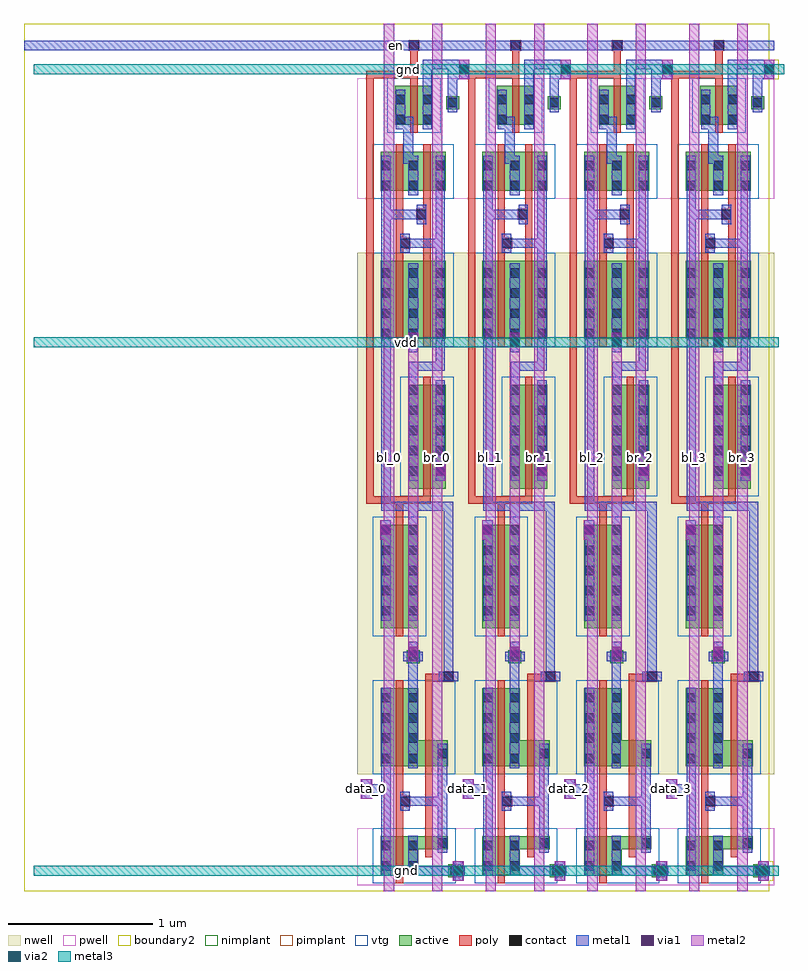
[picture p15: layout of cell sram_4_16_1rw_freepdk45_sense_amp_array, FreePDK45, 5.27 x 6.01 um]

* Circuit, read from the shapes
.subckt sram_4_16_1rw_freepdk45_sense_amp_array bl_0 bl_1 bl_2 bl_3 br_0 br_1 br_2 br_3 data_0 data_1 data_2 data_3 en gnd vdd
M1 gnd n1 data_0 gnd nfet w=0.27u l=0.05u
M2 n2 n3 n4 gnd nfet w=0.27u l=0.05u
M3 gnd en n2 gnd nfet w=0.27u l=0.05u
M4 n3 n4 n2 gnd nfet w=0.27u l=0.05u
M5 n1 n4 gnd gnd nfet w=0.09u l=0.05u
M6 gnd n5 data_1 gnd nfet w=0.27u l=0.05u
M7 n6 n7 n8 gnd nfet w=0.27u l=0.05u
M8 gnd en n6 gnd nfet w=0.27u l=0.05u
M9 n7 n8 n6 gnd nfet w=0.27u l=0.05u
M10 n5 n8 gnd gnd nfet w=0.09u l=0.05u
M11 gnd n9 data_2 gnd nfet w=0.27u l=0.05u
M12 n10 n11 n12 gnd nfet w=0.27u l=0.05u
M13 gnd en n10 gnd nfet w=0.27u l=0.05u
M14 n11 n12 n10 gnd nfet w=0.27u l=0.05u
M15 n9 n12 gnd gnd nfet w=0.09u l=0.05u
M16 gnd n13 data_3 gnd nfet w=0.27u l=0.05u
M17 n14 n15 n16 gnd nfet w=0.27u l=0.05u
M18 gnd en n14 gnd nfet w=0.27u l=0.05u
M19 n15 n16 n14 gnd nfet w=0.27u l=0.05u
M20 n13 n16 gnd gnd nfet w=0.09u l=0.05u
M21 vdd n1 data_0 vdd pfet w=0.54u l=0.05u
M22 n4 en bl_0 vdd pfet w=0.72u l=0.05u
M23 vdd n3 n4 vdd pfet w=0.54u l=0.05u
M24 br_0 en n3 vdd pfet w=0.72u l=0.05u
M25 n3 n4 vdd vdd pfet w=0.54u l=0.05u
M26 n1 n4 vdd vdd pfet w=0.18u l=0.05u
M27 vdd n5 data_1 vdd pfet w=0.54u l=0.05u
M28 n8 en bl_1 vdd pfet w=0.72u l=0.05u
M29 vdd n7 n8 vdd pfet w=0.54u l=0.05u
M30 br_1 en n7 vdd pfet w=0.72u l=0.05u
M31 n7 n8 vdd vdd pfet w=0.54u l=0.05u
M32 n5 n8 vdd vdd pfet w=0.18u l=0.05u
M33 vdd n9 data_2 vdd pfet w=0.54u l=0.05u
M34 n12 en bl_2 vdd pfet w=0.72u l=0.05u
M35 vdd n11 n12 vdd pfet w=0.54u l=0.05u
M36 br_2 en n11 vdd pfet w=0.72u l=0.05u
M37 n11 n12 vdd vdd pfet w=0.54u l=0.05u
M38 n9 n12 vdd vdd pfet w=0.18u l=0.05u
M39 vdd n13 data_3 vdd pfet w=0.54u l=0.05u
M40 n16 en bl_3 vdd pfet w=0.72u l=0.05u
M41 vdd n15 n16 vdd pfet w=0.54u l=0.05u
M42 br_3 en n15 vdd pfet w=0.72u l=0.05u
M43 n15 n16 vdd vdd pfet w=0.54u l=0.05u
M44 n13 n16 vdd vdd pfet w=0.18u l=0.05u
.ends

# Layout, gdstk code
import gdstk
lib = gdstk.Library(unit=1e-6, precision=5e-10)
def R(c, l, rs):  # rectangles x0, y0, x1, y1
    for r in rs: c.add(gdstk.rectangle(r[:2], r[2:], *l))
def A(c, l, x, y, w, h, nx, ny, dx, dy):  # array of equal rectangles
    R(c, l, [(x+i*dx, y+j*dy, x+i*dx+w, y+j*dy+h) for i in range(nx) for j in range(ny)])
def P(c, l, *ps):  # polygons
    for p in ps: c.add(gdstk.Polygon(p, *l))
active = (1, 0)
pwell = (2, 0)
nwell = (3, 0)
nimplant = (4, 0)
pimplant = (5, 0)
vtg = (6, 0)
poly = (9, 0)
contact = (10, 0)
metal1 = (11, 0)
via1 = (12, 0)
metal2 = (13, 0)
via2 = (14, 0)
metal3 = (15, 0)
boundary2 = (239, 0)

sense_amp = lib.new_cell('sense_amp')
R(sense_amp, active, [(0.595,0.095,0.685,0.185), (0.3075,1.58,0.3975,1.67), (0.1275,1.82,0.3875,2.54), (0.1275,1.82,0.2025,2.54), (0.1275,1.82,0.2025,2.54), (0.3125,1.82,0.3875,2.54), (0.3125,1.82,0.3875,2.54), (0.1275,1.905,0.2025,2.54), (0.3125,1.905,0.3875,2.54), (0.3175,2.79,0.5775,3.51), (0.3175,2.79,0.3925,3.51), (0.3175,2.79,0.3925,3.51), (0.5025,2.79,0.5775,3.51), (0.5025,2.79,0.5775,3.51), (0.3175,2.875,0.3925,3.51), (0.5025,2.875,0.5775,3.51), (0.1275,3.8275,0.2025,4.3225), (0.1275,3.8275,0.3875,4.3675), (0.1275,3.8275,0.2025,4.3675), (0.1275,3.8275,0.2025,4.3675), (0.3125,3.8275,0.3875,4.3225), (0.3125,3.8275,0.3875,4.3675), (0.3125,3.8275,0.3875,4.3675), (0.3175,3.8275,0.3925,4.3225), (0.3175,3.8275,0.5775,4.3675), (0.3175,3.8275,0.3925,4.3675), (0.3175,3.8275,0.3925,4.3675), (0.5025,3.8275,0.5775,4.3225), (0.5025,3.8275,0.5775,4.3675), (0.5025,3.8275,0.5775,4.3675), (0.1275,4.8525,0.2025,5.0675), (0.1275,4.8525,0.3875,5.1225), (0.1275,4.8525,0.2025,5.1225), (0.1275,4.8525,0.2025,5.1225), (0.3125,4.8525,0.3875,5.0675), (0.3125,4.8525,0.3875,5.1225), (0.3125,4.8525,0.3875,5.1225), (0.3175,4.8525,0.3925,5.0675), (0.3175,4.8525,0.5775,5.1225), (0.3175,4.8525,0.3925,5.1225), (0.3175,4.8525,0.3925,5.1225), (0.5025,4.8525,0.5775,5.0675), (0.5025,4.8525,0.5775,5.1225), (0.5025,4.8525,0.5775,5.1225), (0.2275,5.31,0.3025,5.525), (0.2275,5.31,0.4875,5.58), (0.2275,5.31,0.3025,5.58), (0.2275,5.31,0.3025,5.58), (0.4125,5.31,0.4875,5.525), (0.4125,5.31,0.4875,5.58), (0.4125,5.31,0.4875,5.58), (0.58,5.42,0.67,5.51)])
P(sense_amp, active, [(0.1275,0.11),(0.1275,0.38),(0.5925,0.38),(0.5925,0.29),(0.3875,0.29),(0.3875,0.11)],
  [(0.1275,0.865),(0.1275,1.405),(0.3875,1.405),(0.3875,1.045),(0.5925,1.045),(0.5925,0.865)])
R(sense_amp, pwell, [(-0.035,0.055,0.74,0.435), (-0.035,4.7975,0.74,5.635), (0.0725,4.7975,0.4425,5.1775), (0.2625,4.7975,0.6325,5.1775), (0.1725,5.255,0.5425,5.635), (0.525,5.365,0.725,5.565)])
P(sense_amp, pwell, [(-0.035,0.04),(-0.035,0.055),(0.595,0.055),(0.595,0.095),(0.685,0.095),(0.685,0.055),(0.74,0.055),(0.74,0.04)])
R(sense_amp, nwell, [(-0.035,0.81,0.74,4.4225), (0.0725,1.765,0.4425,2.595), (0.2625,2.735,0.6325,3.565), (0.0725,3.7725,0.4425,4.4225), (0.2625,3.7725,0.6325,4.4225)])
R(sense_amp, nimplant, [(0.3075,1.58,0.3975,1.67), (0.1275,4.8525,0.3875,5.1225), (0.3175,4.8525,0.5775,5.1225), (0.2275,5.31,0.4875,5.58)])
P(sense_amp, nimplant, [(0.1275,0.11),(0.1275,0.38),(0.5925,0.38),(0.5925,0.29),(0.3875,0.29),(0.3875,0.11)])
R(sense_amp, pimplant, [(0.595,0.095,0.685,0.185), (0.1275,1.82,0.3875,2.54), (0.3175,2.79,0.5775,3.51), (0.1275,3.8275,0.3875,4.3675), (0.3175,3.8275,0.5775,4.3675), (0.58,5.42,0.67,5.51)])
P(sense_amp, pimplant, [(0.1275,0.865),(0.1275,1.405),(0.3875,1.405),(0.3875,1.045),(0.5925,1.045),(0.5925,0.865)])
R(sense_amp, vtg, [(0.0725,0.055,0.6475,0.435), (0.0725,0.81,0.645,1.46), (0.0725,1.765,0.4425,2.595), (0.2625,2.735,0.6325,3.565), (0.0725,3.7725,0.4425,4.4225), (0.2625,3.7725,0.6325,4.4225), (0.0725,4.7975,0.4425,5.1775), (0.2625,4.7975,0.6325,5.1775), (0.1725,5.255,0.5425,5.635)])
R(sense_amp, poly, [(0.2325,0.055,0.2825,1.46), (0.2575,0.585,0.3325,0.66), (0.2325,1.765,0.2825,1.82), (0.2325,1.765,0.2825,2.595), (0.2325,2.54,0.2825,2.595), (0.2325,2.595,0.2825,2.685), (0.0275,2.685,0.4725,2.735), (0.0275,2.735,0.0775,5.635), (0.4225,2.735,0.4725,2.79), (0.4225,2.735,0.4725,3.565), (0.4225,3.51,0.4725,3.565), (0.2325,3.7725,0.2825,3.8275), (0.2325,3.7725,0.2825,4.4225), (0.4225,3.7725,0.4725,3.8275), (0.4225,3.7725,0.4725,4.4225), (0.2325,4.04,0.2825,4.7975), (0.4225,4.04,0.4725,4.7975), (0.2325,4.3675,0.2825,4.4225), (0.4225,4.3675,0.4725,4.4225), (0.2575,4.4525,0.3325,4.5275), (0.3725,4.6525,0.4475,4.7275), (0.2325,4.7975,0.2825,4.8525), (0.2325,4.7975,0.2825,5.1775), (0.4225,4.7975,0.4725,4.8525), (0.4225,4.7975,0.4725,5.1775), (0.2325,5.1225,0.2825,5.1775), (0.4225,5.1225,0.4725,5.1775), (0.3325,5.255,0.3825,5.31), (0.3325,5.255,0.3825,5.635), (0.3325,5.58,0.3825,5.635), (0.0275,5.635,0.3825,5.685), (0.3325,5.685,0.3825,5.89), (0.32,5.8225,0.395,5.8975)])
P(sense_amp, poly, [(0.4375,0.235),(0.4375,1.505),(0.56,1.505),(0.56,1.525),(0.635,1.525),(0.635,1.45),(0.4875,1.45),(0.4875,0.235)])
A(sense_amp, contact, 0.1325, 0.8875, 0.065, 0.065, 1, 4, 0, 0.14)
A(sense_amp, contact, 0.3175, 0.8875, 0.065, 0.065, 1, 4, 0, 0.14)
A(sense_amp, contact, 0.1325, 1.91, 0.065, 0.065, 1, 5, 0, 0.14)
A(sense_amp, contact, 0.3175, 1.91, 0.065, 0.065, 1, 5, 0, 0.14)
A(sense_amp, contact, 0.3225, 2.88, 0.065, 0.065, 1, 5, 0, 0.14)
A(sense_amp, contact, 0.5075, 2.88, 0.065, 0.065, 1, 5, 0, 0.14)
A(sense_amp, contact, 0.1325, 3.8325, 0.065, 0.065, 1, 4, 0, 0.14)
A(sense_amp, contact, 0.3225, 3.8325, 0.065, 0.065, 1, 4, 0, 0.14)
A(sense_amp, contact, 0.5075, 3.8325, 0.065, 0.065, 1, 4, 0, 0.14)
R(sense_amp, contact, [(0.61,0.1075,0.675,0.1725), (0.1325,0.1425,0.1975,0.2075), (0.3175,0.1425,0.3825,0.2075), (0.1325,0.2825,0.1975,0.3475), (0.3175,0.2825,0.3825,0.3475), (0.5225,0.3,0.5875,0.365), (0.2625,0.59,0.3275,0.655), (0.5225,0.92,0.5875,0.985), (0.565,1.455,0.63,1.52), (0.32,1.5925,0.385,1.6575), (0.2625,4.4575,0.3275,4.5225), (0.3775,4.6575,0.4425,4.7225), (0.1325,4.8575,0.1975,4.9225), (0.3225,4.8575,0.3875,4.9225), (0.5075,4.8575,0.5725,4.9225), (0.1325,4.9975,0.1975,5.0625), (0.3225,4.9975,0.3875,5.0625), (0.5075,4.9975,0.5725,5.0625), (0.2325,5.315,0.2975,5.38), (0.4175,5.315,0.4825,5.38), (0.5925,5.4325,0.6575,5.4975), (0.2325,5.455,0.2975,5.52), (0.4175,5.455,0.4825,5.52), (0.325,5.8275,0.39,5.8925)])
R(sense_amp, metal1, [(0.1325,0.1075,0.1975,1.4075), (0.3175,0.1075,0.3825,0.3825), (0.3825,0.1075,0.5675,0.1725), (0.5225,0.265,0.5875,0.3), (0.2625,0.555,0.3275,0.69), (-0.0025,0.64,0.0625,0.775), (-0.0075,0.67,0.0675,0.745), (0.0675,0.675,0.1325,0.74), (0.3175,0.8525,0.3825,0.8875), (0.3175,0.8875,0.3825,1.6575), (0.5225,0.985,0.5875,1.02), (0.53,1.455,0.665,1.52), (0.565,1.455,0.63,2.7), (0.285,1.5925,0.42,1.6575), (0.32,1.5925,0.385,1.7275), (0.1325,1.875,0.1975,2.57), (0.3175,1.875,0.3825,2.57), (0.1275,2.435,0.1925,2.57), (0.32,2.5025,0.385,2.7), (0.1325,2.635,0.63,2.7), (0.1325,2.7,0.1975,3.7975), (0.3225,2.845,0.3875,3.54), (0.5075,2.845,0.5725,3.54), (0.51,2.845,0.575,2.98), (0.3225,3.475,0.3875,3.67), (0.3225,3.605,0.5725,3.67), (0.5075,3.605,0.5725,3.8), (0.32,3.735,0.385,3.87), (0.1325,3.7975,0.1975,4.3525), (0.3175,3.7975,0.3825,4.3525), (0.3225,3.7975,0.3875,4.3525), (0.5075,3.7975,0.5725,4.3525), (0.1325,3.96,0.1975,4.8275), (0.5075,3.96,0.5725,4.8225), (0.2625,4.4225,0.3275,4.5575), (0.2825,4.4575,0.5725,4.5225), (0.3775,4.6225,0.4425,4.7575), (0.1325,4.6575,0.4225,4.7225), (0.1325,4.8225,0.1975,5.0975), (0.3175,4.8225,0.3825,5.0975), (0.3225,4.8225,0.3875,5.0975), (0.5075,4.8225,0.5725,5.0975), (0.2825,5.04,0.3525,5.3675), (0.2325,5.28,0.2975,5.555), (0.4175,5.28,0.4825,5.555), (0.5925,5.3975,0.6575,5.5325), (0.5925,5.5325,0.6575,5.7625), (0.4175,5.545,0.4825,5.6975), (0.6575,5.6275,0.6725,5.6975), (0.6725,5.6275,0.7375,5.7625), (0.4175,5.6975,0.74,5.7625), (-0.035,5.8275,0.74,5.8925), (-0.035,5.8275,0.74,5.8925), (0.23,5.8275,0.295,5.8925), (0.29,5.8275,0.425,5.8925)])
P(sense_amp, metal1, [(0.5225,0.3),(0.5225,0.59),(0.2625,0.59),(0.2625,0.655),(0.5225,0.655),(0.5225,0.985),(0.5875,0.985),(0.5875,0.3)],
  [(0.6325,0.0725),(0.6325,0.1075),(0.5675,0.1075),(0.5675,0.1725),(0.6325,0.1725),(0.6325,0.2075),(0.6975,0.2075),(0.6975,0.1725),(0.71,0.1725),(0.71,0.1075),(0.6975,0.1075),(0.6975,0.0725)],
  [(0,1.4525),(0,1.4525),(0,1.4525),(0,1.4525)])
R(sense_amp, via1, [(0.6325,0.1075,0.6975,0.1725), (-0.0025,0.675,0.0625,0.74), (0.32,1.6275,0.385,1.6925), (0.1275,2.47,0.1925,2.535), (0.51,2.88,0.575,2.945), (0.32,3.77,0.385,3.835), (0.6725,5.6625,0.7375,5.7275)])
R(sense_amp, metal2, [(0.15,0,0.22,6.01), (0.15,0,0.22,6.01), (0.485,0,0.555,6.01), (0.485,0,0.555,6.01), (0.6275,0.0725,0.7025,0.2075), (0.6275,0.0725,0.7025,0.2075), (0.6275,0.1025,0.7025,0.1775), (-0.01,0.64,0.0675,0.775), (-0.01,0.64,0.0675,0.775), (-0.0075,0.67,0.0675,0.745), (0.3175,1.5925,0.3875,1.7275), (0.3175,1.725,0.3875,3.735), (0.125,2.435,0.195,2.57), (0.5075,2.845,0.5775,2.98), (0.3175,3.735,0.3875,3.87), (0.3175,3.735,0.3875,3.87), (0.67,5.6275,0.74,5.7625), (0.67,5.6275,0.74,5.7625)])
R(sense_amp, boundary2, [(0,0,0.705,6.01)])
sense_amp.add(gdstk.Label('en', (0.258,5.86), layer=11, texttype=0))
sense_amp.add(gdstk.Label('dout', (0.0285,0.6925), layer=13, texttype=0))
sense_amp.add(gdstk.Label('gnd', (0.6555,0.1235), layer=13, texttype=0))
sense_amp.add(gdstk.Label('bl', (0.19,0.005), layer=13, texttype=0))
sense_amp.add(gdstk.Label('br', (0.52,0.0065), layer=13, texttype=0))
sense_amp.add(gdstk.Label('vdd', (0.3525,3.8), layer=13, texttype=0))
sense_amp.add(gdstk.Label('gnd', (0.7025,5.735), layer=13, texttype=0))
sense_amp.add(gdstk.Label('bl', (0.185,3.005), layer=13, texttype=0))
sense_amp.add(gdstk.Label('br', (0.52,3.005), layer=13, texttype=0))
sense_amp.add(gdstk.Label('dout', (0.029,0.7075), layer=13, texttype=0))
sense_amp.add(gdstk.Label('en', (0.3525,5.86), layer=11, texttype=0))
sense_amp.add(gdstk.Label('vdd', (0.3525,3.8025), layer=13, texttype=0))
sense_amp.add(gdstk.Label('gnd', (0.665,0.14), layer=13, texttype=0))
sense_amp.add(gdstk.Label('gnd', (0.705,5.695), layer=13, texttype=0))

sram_4_16_1rw_freepdk45_ = lib.new_cell('sram_4_16_1rw_freepdk45_contact_18')
R(sram_4_16_1rw_freepdk45_, metal2, [(0.0325,0,0.1025,0.135)])
R(sram_4_16_1rw_freepdk45_, via2, [(0.035,0.035,0.1,0.1)])
R(sram_4_16_1rw_freepdk45_, metal3, [(0,0.0325,0.135,0.1025)])
R(sram_4_16_1rw_freepdk45_, boundary2, [(0,0,0.135,0.135)])

c_sram_4_16_1rw_freepdk45_ = lib.new_cell('sram_4_16_1rw_freepdk45_sense_amp_array')
A(c_sram_4_16_1rw_freepdk45_, metal1, 2.665, 5.8275, 0.065, 0.065, 4, 1, 0.705, 0)
R(c_sram_4_16_1rw_freepdk45_, metal1, [(0,5.8275,5.165,5.8925)])
A(c_sram_4_16_1rw_freepdk45_, metal2, 2.335, 0.64, 0.0775, 0.135, 4, 1, 0.705, 0)
R(c_sram_4_16_1rw_freepdk45_, metal2, [(2.495,0,2.565,6.01), (2.83,0,2.9,6.01), (3.2,0,3.27,6.01), (3.535,0,3.605,6.01), (3.905,0,3.975,6.01), (4.24,0,4.31,6.01), (4.61,0,4.68,6.01), (4.945,0,5.015,6.01)])
R(c_sram_4_16_1rw_freepdk45_, metal3, [(0.0675,0.105,5.2325,0.175), (0.0675,3.7675,5.2325,3.8375), (0.0675,5.66,5.2675,5.73)])
R(c_sram_4_16_1rw_freepdk45_, boundary2, [(0,0,5.165,6.01)])
c_sram_4_16_1rw_freepdk45_.add(gdstk.Reference(sense_amp, (2.345,0)))
c_sram_4_16_1rw_freepdk45_.add(gdstk.Reference(sense_amp, (3.05,0)))
c_sram_4_16_1rw_freepdk45_.add(gdstk.Reference(sense_amp, (3.755,0)))
c_sram_4_16_1rw_freepdk45_.add(gdstk.Reference(sense_amp, (4.46,0)))
c_sram_4_16_1rw_freepdk45_.add(gdstk.Reference(sram_4_16_1rw_freepdk45_, (2.63,3.735)))
c_sram_4_16_1rw_freepdk45_.add(gdstk.Reference(sram_4_16_1rw_freepdk45_, (3.335,3.735)))
c_sram_4_16_1rw_freepdk45_.add(gdstk.Reference(sram_4_16_1rw_freepdk45_, (4.04,3.735)))
c_sram_4_16_1rw_freepdk45_.add(gdstk.Reference(sram_4_16_1rw_freepdk45_, (4.745,3.735)))
c_sram_4_16_1rw_freepdk45_.add(gdstk.Reference(sram_4_16_1rw_freepdk45_, (2.9425,0.0725)))
c_sram_4_16_1rw_freepdk45_.add(gdstk.Reference(sram_4_16_1rw_freepdk45_, (3.6475,0.0725)))
c_sram_4_16_1rw_freepdk45_.add(gdstk.Reference(sram_4_16_1rw_freepdk45_, (4.3525,0.0725)))
c_sram_4_16_1rw_freepdk45_.add(gdstk.Reference(sram_4_16_1rw_freepdk45_, (5.0575,0.0725)))
c_sram_4_16_1rw_freepdk45_.add(gdstk.Reference(sram_4_16_1rw_freepdk45_, (2.9825,5.6275)))
c_sram_4_16_1rw_freepdk45_.add(gdstk.Reference(sram_4_16_1rw_freepdk45_, (3.6875,5.6275)))
c_sram_4_16_1rw_freepdk45_.add(gdstk.Reference(sram_4_16_1rw_freepdk45_, (4.3925,5.6275)))
c_sram_4_16_1rw_freepdk45_.add(gdstk.Reference(sram_4_16_1rw_freepdk45_, (5.0975,5.6275)))
c_sram_4_16_1rw_freepdk45_.add(gdstk.Label('bl_0', (2.53,3.005), layer=13, texttype=0))
c_sram_4_16_1rw_freepdk45_.add(gdstk.Label('br_0', (2.865,3.005), layer=13, texttype=0))
c_sram_4_16_1rw_freepdk45_.add(gdstk.Label('data_0', (2.374,0.7075), layer=13, texttype=0))
c_sram_4_16_1rw_freepdk45_.add(gdstk.Label('bl_1', (3.235,3.005), layer=13, texttype=0))
c_sram_4_16_1rw_freepdk45_.add(gdstk.Label('br_1', (3.57,3.005), layer=13, texttype=0))
c_sram_4_16_1rw_freepdk45_.add(gdstk.Label('data_1', (3.079,0.7075), layer=13, texttype=0))
c_sram_4_16_1rw_freepdk45_.add(gdstk.Label('bl_2', (3.94,3.005), layer=13, texttype=0))
c_sram_4_16_1rw_freepdk45_.add(gdstk.Label('br_2', (4.275,3.005), layer=13, texttype=0))
c_sram_4_16_1rw_freepdk45_.add(gdstk.Label('data_2', (3.784,0.7075), layer=13, texttype=0))
c_sram_4_16_1rw_freepdk45_.add(gdstk.Label('bl_3', (4.645,3.005), layer=13, texttype=0))
c_sram_4_16_1rw_freepdk45_.add(gdstk.Label('br_3', (4.98,3.005), layer=13, texttype=0))
c_sram_4_16_1rw_freepdk45_.add(gdstk.Label('data_3', (4.489,0.7075), layer=13, texttype=0))
c_sram_4_16_1rw_freepdk45_.add(gdstk.Label('vdd', (2.65,3.8025), layer=15, texttype=0))
c_sram_4_16_1rw_freepdk45_.add(gdstk.Label('gnd', (2.65,0.14), layer=15, texttype=0))
c_sram_4_16_1rw_freepdk45_.add(gdstk.Label('gnd', (2.6675,5.695), layer=15, texttype=0))
c_sram_4_16_1rw_freepdk45_.add(gdstk.Label('en', (2.5825,5.86), layer=11, texttype=0))

lib.write_gds('sram_4_16_1rw_freepdk45_sense_amp_array.gds')
